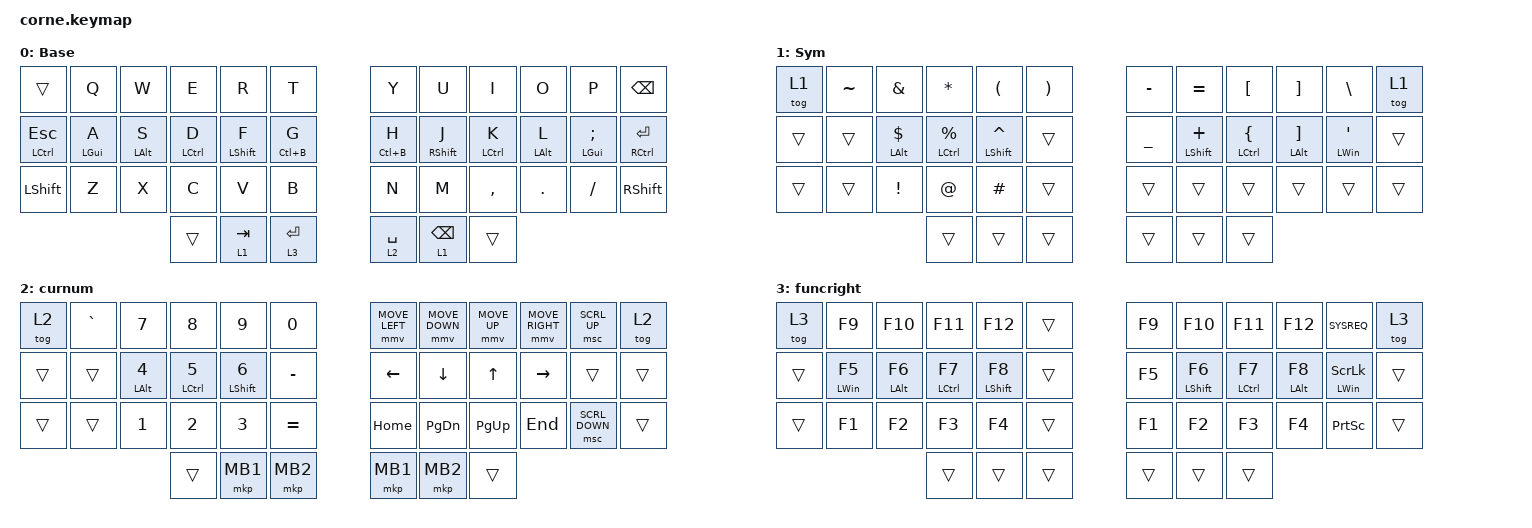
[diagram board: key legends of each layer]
/*
 * Copyright (c) 2020 The ZMK Contributors
 *
 * SPDX-License-Identifier: MIT
 *
 * Synced with the lily58 config (lily58-wireless): 4 layers total.
 *
 *   0 Base        QWERTY + per-key modifiers (identical to the lily)
 *   1 Sym         symbols spread across BOTH halves, so either thumb can
 *                 be paired with either hand
 *   2 cursornum   numpad (left) + arrows/mouse (right) + MB1/MB2 thumbs
 *   3 funcr       F-keys, mirrored: F9-F12/F5-F8/F1-F4 on both halves
 *
 * Thumb keys (2 live per side, outer thumbs unused):
 *   [Left]  &lt 1 TAB    &lt 3 RET
 *   [Right] &lt 2 SPACE  &lt_bspdel 1 BSPDEL
 *
 * Outer columns are used as on the lily:
 *   base:   &mt LCTRL ESC / &mt RCTRL RET (row 2), &kp LSHFT / &kp RSHFT (row 3)
 *   layers: &tog <layer> lock keys at both ends of the qwerty row (row 0),
 *           matching the lily's qwerty row (row 1) positionally.
 *   While holding an &lt thumb key, tap an outer &tog key to lock the held
 *   layer; tap it again to unlock (back to base).
 */

#include <behaviors.dtsi>
#include <dt-bindings/zmk/bt.h>
#include <dt-bindings/zmk/keys.h>
#include <dt-bindings/zmk/outputs.h>
#include <dt-bindings/zmk/pointing.h>

&lt {
    require-prior-idle-ms = <150>;
    tapping-term-ms = <280>;
    quick-tap-ms = <250>;
    flavor = "balanced";
};

&mt {
    require-prior-idle-ms = <150>;
    tapping-term-ms = <280>;
    quick-tap-ms = <250>;
    flavor = "balanced";
};

// Mouse move: faster ramp (150ms), less aggressive acceleration

&mmv {
    time-to-max-speed-ms = <250>;
    acceleration-exponent = <2>;
};

// Mouse scroll: faster ramp, linear

&msc {
    time-to-max-speed-ms = <250>;
    acceleration-exponent = <2>;
};

/ {
    behaviors {
        graveesc: graveesc {
            compatible = "zmk,behavior-mod-morph";
            #binding-cells = <0>;
            bindings = <&kp ESC>, <&kp GRAVE>;

            mods = <(MOD_LSFT|MOD_RSFT|MOD_LCTL|MOD_RCTL)>;
            keep-mods = <(MOD_LSFT|MOD_RSFT)>;
        };

        bspdel: bspace_del {
            compatible = "zmk,behavior-mod-morph";
            #binding-cells = <0>;
            bindings = <&kp BSPC>, <&kp DEL>;

            mods = <(MOD_LSFT|MOD_RSFT|MOD_LCTL|MOD_RCTL)>;
        };

        // Custom behavior (see src/behavior_esc_to_base.c): sends ESC and
        // forces the default layer, cancelling any layer locked via the
        // stick keys.

        esc_to_base: esc_to_base {
            compatible = "zmk,behavior-esc-to-base";
            #binding-cells = <0>;
        };

        lt_bspdel: layer_tap_bspc_del {
            compatible = "zmk,behavior-hold-tap";
            label = "LAYER_TAP_BACKSPACE_DELETE";
            #binding-cells = <2>;
            bindings = <&mo>, <&bspdel>;

            tapping-term-ms = <280>;
            quick-tap-ms = <250>;
        };

        td_lctrl_quote: td_lctrl_quote {
            compatible = "zmk,behavior-tap-dance";
            label = "DT_GUI_ENTER";
            #binding-cells = <0>;
            bindings = <&mt LCTRL SQT>, <&kp DQT>;
        };

        td_alt_brckt_bslsh: td_alt_brckt_bslsh {
            compatible = "zmk,behavior-tap-dance";
            label = "TD_ALT_BRCKT_BSLSH";
            #binding-cells = <0>;
            bindings = <&mt LALT LBKT>, <&kp RBKT>, <&kp BSLH>;
        };

        td_alt_minus_grave_esc: td_alt_minus_grave_esc {
            compatible = "zmk,behavior-tap-dance";
            label = "TD_ALT_MINUS_GRAVE_ESC";
            #binding-cells = <0>;
            bindings = <&mt LALT MINUS>, <&kp GRAVE>, <&kp ESC>;
        };

        lhmini: lhmini {
            compatible = "zmk,behavior-hold-tap";
            #binding-cells = <2>;
            flavor = "balanced";
            tapping-term-ms = <200>;
            quick-tap-ms = <250>;
            require-prior-idle-ms = <150>;
            bindings = <&kp>, <&kp>;

            hold-trigger-key-positions = <0 1 2 3 4 5 6 7 8 9 10 11 12 18 19 20 21 22 23 24 25 26 27 28 29 30 31 32 33 34 35 36 37 38 39 40 41>;
            label = "LHMINI";
            hold-trigger-on-release;
        };

        rhmini: rhmini {
            compatible = "zmk,behavior-hold-tap";
            #binding-cells = <2>;
            flavor = "balanced";
            tapping-term-ms = <200>;
            quick-tap-ms = <250>;
            require-prior-idle-ms = <150>;
            bindings = <&kp>, <&kp>;

            hold-trigger-key-positions = <0 1 2 3 4 5 6 7 8 9 10 11 12 13 14 15 16 17 23 24 25 26 27 28 29 30 31 32 33 34 35 36 37 38 39 40 41>;
            label = "RHMINI";
            hold-trigger-on-release;
        };
    };
};

/ {
    combos {
        compatible = "zmk,combos";

        // R E B T
        bootloader {
            bindings = <&bootloader>;
            key-positions = <4 3 29 5>;
        };

        // RET SPACE (both inner thumbs): ESC and force default layer.
        thumbesc {
            bindings = <&esc_to_base>;
            key-positions = <38 39>;
            timeout-ms = <150>;
        };

        // F J
        capsword {
            bindings = <&caps_word>;
            key-positions = <16 19>;
        };

        // D F J K
        caps {
            bindings = <&kp CAPS>;
            key-positions = <15 16 19 20>;
        };

        // B T C
        btclear {
            bindings = <&bt BT_CLR>;
            key-positions = <5 29 27>;
        };

        // B T Q
        bt1 {
            bindings = <&bt BT_SEL 0>;
            key-positions = <5 29 1>;
        };

        // B T W
        bt2 {
            bindings = <&bt BT_SEL 1>;
            key-positions = <5 29 2>;
        };

        // B T E
        bt3 {
            bindings = <&bt BT_SEL 2>;
            key-positions = <5 29 3>;
        };

        // B T R
        bt4 {
            bindings = <&bt BT_SEL 3>;
            key-positions = <5 29 4>;
        };

        // B T O: toggle output between USB (dongle) and BLE (active profile's host)
        btout {
            bindings = <&out OUT_TOG>;
            key-positions = <5 29 9>;
        };

        // B T Z: same as B T O, one-handed (left) variant

        btz {
            bindings = <&out OUT_TOG>;
            key-positions = <5 29 25>;
        };


        // J ; : right-hand vim colon fog. Works without mask
        // surgery because J and ; are both rhmini cluster members, and the
        // rhmini mask already excludes its own cluster. (corne: J, ;)

        vimcolon_j {
            bindings = <&kp COLON>;
            key-positions = <19 22>;
            timeout-ms = <150>;
        };
    };

    keymap {
        compatible = "zmk,keymap";

        // Key position order per row:
        //   row0 (qwerty): 0-11  (0/11 outer, used as &tog locks on layers)
        //   row1 (asdf):   12-23 (12/23 outer)
        //   row2 (zxcv):   24-35 (24/35 outer)
        //   row3 (thumbs): 36-38 | 39-41

        base {
            display-name = "Base";
            bindings = <
//    ┌─────────────┬────────────────┬────────────────┬────────────────┬────────────────┬───────────────────┬───────────────────┬──────────────────┬────────────────┬────────────────┬────────────────┬─────────────┐
//    │             │       Q        │       W        │       E        │       R        │         T         │         Y         │        U         │       I        │       O        │       P        │    bspc     │
//    ├─────────────┼────────────────┼────────────────┼────────────────┼────────────────┼───────────────────┼───────────────────┼──────────────────┼────────────────┼────────────────┼────────────────┼─────────────┤
//    │ mt lctl esc │ &lhmini lgui A │ &lhmini lalt S │ &lhmini lctl D │ &lhmini lsft F │ &lhmini lctl(B) G │ &rhmini lctl(B) H │  &rhmini rsft J  │ &rhmini lctl K │ &rhmini lalt L │ &rhmini lgui ; │ mt rctl ent │
//    ├─────────────┼────────────────┼────────────────┼────────────────┼────────────────┼───────────────────┼───────────────────┼──────────────────┼────────────────┼────────────────┼────────────────┼─────────────┤
//    │    lsft     │       Z        │       X        │       C        │       V        │         B         │         N         │        M         │       ,        │       .        │       /        │    rsft     │
//    └─────────────┴────────────────┴────────────────┼────────────────┼────────────────┼───────────────────┼───────────────────┼──────────────────┼────────────────┼────────────────┴────────────────┴─────────────┘
//                                                    │                │    lt 1 tab    │     lt 3 ent      │     lt 2 spc      │ lt_bspdel 1 bspc │                │
//                                                    └────────────────┴────────────────┴───────────────────┴───────────────────┴──────────────────┴────────────────┘
  &trans          &kp Q            &kp W            &kp E             &kp R             &kp T             &kp Y             &kp U               &kp I             &kp O            &kp P               &kp BSPC
  &mt LCTRL ESC   &lhmini LGUI A   &lhmini LALT S   &lhmini LCTRL D   &lhmini LSHFT F   &lhmini LC(B) G   &rhmini LC(B) H   &rhmini RSHFT J     &rhmini LCTRL K   &rhmini LALT L   &rhmini LGUI SEMI   &mt RCTRL RET
  &kp LSHFT       &kp Z            &kp X            &kp C             &kp V             &kp B             &kp N             &kp M               &kp COMMA         &kp DOT          &kp FSLH            &kp RSHFT
                                                    &trans            &lt 1 TAB         &lt 3 RET         &lt 2 SPACE       &lt_bspdel 1 BSPC   &trans
            >;
        };

        // 1: symbols across both halves; reachable from either thumb.

        Sym {
            display-name = "Sym";
            bindings = <
//    ┌───────┬─────┬────────────────┬────────────────┬────────────────┬─────┬─────┬────────────────┬────────────────┬────────────────┬────────────────┬───────┐
//    │ tog 1 │  ~  │       &        │       *        │       (        │  )  │  -  │       =        │       [        │       ]        │       \        │ tog 1 │
//    ├───────┼─────┼────────────────┼────────────────┼────────────────┼─────┼─────┼────────────────┼────────────────┼────────────────┼────────────────┼───────┤
//    │       │     │ &lhmini lalt $ │ &lhmini lctl % │ &lhmini lsft ^ │     │  _  │ &rhmini lsft + │ &rhmini lctl { │ &rhmini lalt ] │ &rhmini lgui ' │       │
//    ├───────┼─────┼────────────────┼────────────────┼────────────────┼─────┼─────┼────────────────┼────────────────┼────────────────┼────────────────┼───────┤
//    │       │     │       !        │       @        │       #        │     │     │                │                │                │                │       │
//    └───────┴─────┴────────────────┼────────────────┼────────────────┼─────┼─────┼────────────────┼────────────────┼────────────────┴────────────────┴───────┘
//                                   │                │                │     │     │                │                │
//                                   └────────────────┴────────────────┴─────┴─────┴────────────────┴────────────────┘
  &tog 1   &kp TILDE   &kp AMPS            &kp STAR              &kp LPAR              &kp RPAR   &kp MINUS   &kp EQUAL            &kp LBKT             &kp RBKT            &kp BSLH           &tog 1
  &trans   &trans      &lhmini LALT DLLR   &lhmini LCTRL PRCNT   &lhmini LSHFT CARET   &trans     &kp UNDER   &rhmini LSHFT PLUS   &rhmini LCTRL LBRC   &rhmini LALT RBKT   &rhmini LWIN SQT   &trans
  &trans   &trans      &kp EXCL            &kp AT                &kp HASH              &trans     &trans      &trans               &trans               &trans              &trans             &trans
                                           &trans                &trans                &trans     &trans      &trans               &trans
            >;
        };

        // 2: numpad (left) + arrows/mouse (right).

        cursornum {
            display-name = "curnum";
            bindings = <
//    ┌───────┬─────┬────────────────┬────────────────┬────────────────┬──────┬────────────────┬────────────────┬──────────────┬────────────────┬────────────────┬───────┐
//    │ tog 2 │  `  │       7        │       8        │       9        │  0   │ &mmv MOVE_left │ &mmv MOVE_down │ &mmv MOVE_up │ &mmv MOVE_rght │  &msc SCRL_up  │ tog 2 │
//    ├───────┼─────┼────────────────┼────────────────┼────────────────┼──────┼────────────────┼────────────────┼──────────────┼────────────────┼────────────────┼───────┤
//    │       │     │ &lhmini lalt 4 │ &lhmini lctl 5 │ &lhmini lsft 6 │  -   │      left      │      down      │      up      │      rght      │                │       │
//    ├───────┼─────┼────────────────┼────────────────┼────────────────┼──────┼────────────────┼────────────────┼──────────────┼────────────────┼────────────────┼───────┤
//    │       │     │       1        │       2        │       3        │  =   │      home      │      pgdn      │     pgup     │      end       │ &msc SCRL_down │       │
//    └───────┴─────┴────────────────┼────────────────┼────────────────┼──────┼────────────────┼────────────────┼──────────────┼────────────────┴────────────────┴───────┘
//                                   │                │      lclk      │ rclk │      lclk      │      rclk      │              │
//                                   └────────────────┴────────────────┴──────┴────────────────┴────────────────┴──────────────┘
  &tog 2   &kp GRAVE   &kp N7            &kp N8             &kp N9             &kp N0      &mmv MOVE_LEFT   &mmv MOVE_DOWN   &mmv MOVE_UP   &mmv MOVE_RIGHT   &msc SCRL_UP     &tog 2
  &trans   &trans      &lhmini LALT N4   &lhmini LCTRL N5   &lhmini LSHFT N6   &kp MINUS   &kp LEFT         &kp DOWN         &kp UP         &kp RIGHT         &trans           &trans
  &trans   &trans      &kp N1            &kp N2             &kp N3             &kp EQUAL   &kp HOME         &kp PG_DN        &kp PG_UP      &kp END           &msc SCRL_DOWN   &trans
                                         &trans             &mkp MB1           &mkp MB2    &mkp MB1         &mkp MB2         &trans
            >;
        };

        // 3: F-keys, mirrored on both halves.
        // SYSREQ/SLCK/PSCRN kept on the right outer column (no lily
        // equivalent there; drop them if you want byte-for-byte parity).

        funcr {
            display-name = "funcright";
            bindings = <
//    ┌───────┬─────────────────┬─────────────────┬─────────────────┬─────────────────┬─────┬─────┬─────────────────┬─────────────────┬─────────────────┬───────────────────┬───────┐
//    │ tog 3 │       f9        │       f10       │       f11       │       f12       │     │ f9  │       f10       │       f11       │       f12       │      sys_req      │ tog 3 │
//    ├───────┼─────────────────┼─────────────────┼─────────────────┼─────────────────┼─────┼─────┼─────────────────┼─────────────────┼─────────────────┼───────────────────┼───────┤
//    │       │ &lhmini lgui f5 │ &lhmini lalt f6 │ &lhmini lctl f7 │ &lhmini lsft f8 │     │ f5  │ &rhmini lsft f6 │ &rhmini lctl f7 │ &rhmini lalt f8 │ &rhmini lgui slck │       │
//    ├───────┼─────────────────┼─────────────────┼─────────────────┼─────────────────┼─────┼─────┼─────────────────┼─────────────────┼─────────────────┼───────────────────┼───────┤
//    │       │       f1        │       f2        │       f3        │       f4        │     │ f1  │       f2        │       f3        │       f4        │       pscr        │       │
//    └───────┴─────────────────┴─────────────────┼─────────────────┼─────────────────┼─────┼─────┼─────────────────┼─────────────────┼─────────────────┴───────────────────┴───────┘
//                                                │                 │                 │     │     │                 │                 │
//                                                └─────────────────┴─────────────────┴─────┴─────┴─────────────────┴─────────────────┘
  &tog 3   &kp F9            &kp F10           &kp F11            &kp F12            &trans   &kp F9   &kp F10            &kp F11            &kp F12           &kp SYSREQ          &tog 3
  &trans   &lhmini LWIN F5   &lhmini LALT F6   &lhmini LCTRL F7   &lhmini LSHFT F8   &trans   &kp F5   &rhmini LSHFT F6   &rhmini LCTRL F7   &rhmini LALT F8   &rhmini LWIN SLCK   &trans
  &trans   &kp F1            &kp F2            &kp F3             &kp F4             &trans   &kp F1   &kp F2             &kp F3             &kp F4            &kp PSCRN           &trans
                                               &trans             &trans             &trans   &trans   &trans             &trans
            >;
        };
    };
};
